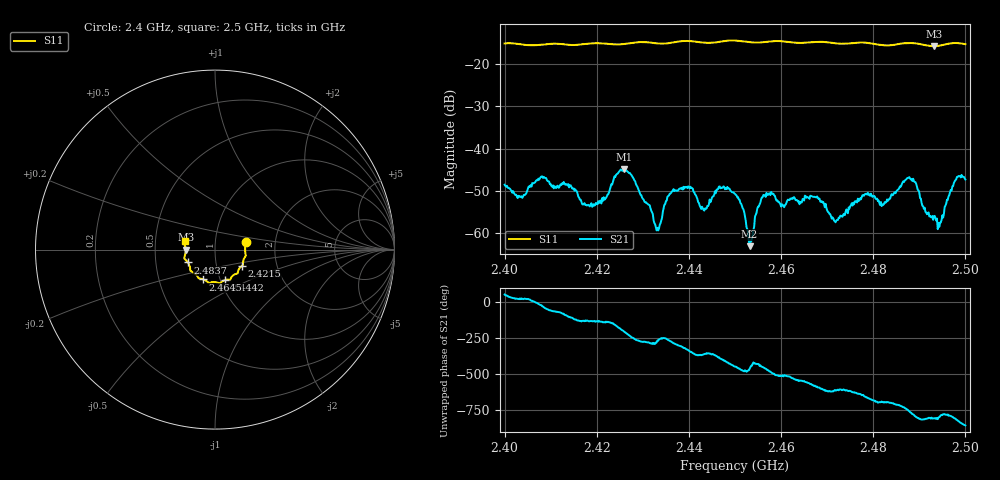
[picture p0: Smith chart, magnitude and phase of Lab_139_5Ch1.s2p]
# Hz S RI R 50
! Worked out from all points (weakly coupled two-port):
!   601 points, 2.4 GHz to 2.5 GHz, reference 50 ohm
!   highest |S21| = -44.87 dB at 2.4258 GHz (marker M1); lowest = -63.0 dB at 2.4532 GHz (marker M2)
!   lowest |S11| = -15.7 dB at 2.4932 GHz (marker M3), VSWR 1.39, Z = 36 - j0.0613 ohm
!   |S11| at or under -10 dB: start of sweep to end of sweep
!   S12 and S22 are empty: the file has one direction only
!   S11 on the Smith chart (normalised r, x): 2.4 GHz: 1.41, +0.12; 2.4215 GHz: 1.33, -0.25; 2.4442 GHz: 1.05, -0.37; 2.4645 GHz: 0.83, -0.29; 2.4837 GHz: 0.73, -0.11; 2.5 GHz: 0.71, +0.07
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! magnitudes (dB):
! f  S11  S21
! 2.4 GHz  -15.1  -48.5
! 2.4038 GHz  -15.3  -51.6
! 2.4085 GHz  -15.4  -46.6
! 2.4167 GHz  -15.3  -52.5
! 2.4215 GHz  -15.1  -51.5
! 2.4258 GHz  -15.2  -44.9
! 2.4333 GHz  -15.1  -59.3
! 2.4367 GHz  -14.8  -49.6
! 2.4442 GHz  -15.0  -53.5
! 2.45 GHz  -14.4  -50.7
! 2.4532 GHz  -14.8  -63.0
! 2.4563 GHz  -14.8  -51.0
! 2.4645 GHz  -15.0  -52.7
! 2.4667 GHz  -14.8  -51.2
! 2.4718 GHz  -15.1  -57.4
! 2.4783 GHz  -14.9  -50.7
! 2.4833 GHz  -15.5  -52.1
! 2.4837 GHz  -15.5  -51.8
! 2.4882 GHz  -15.0  -47.3
! 2.4932 GHz  -15.7  -56.0
! 2.4945 GHz  -15.6  -57.5
! 2.5 GHz  -15.3  -47.3
